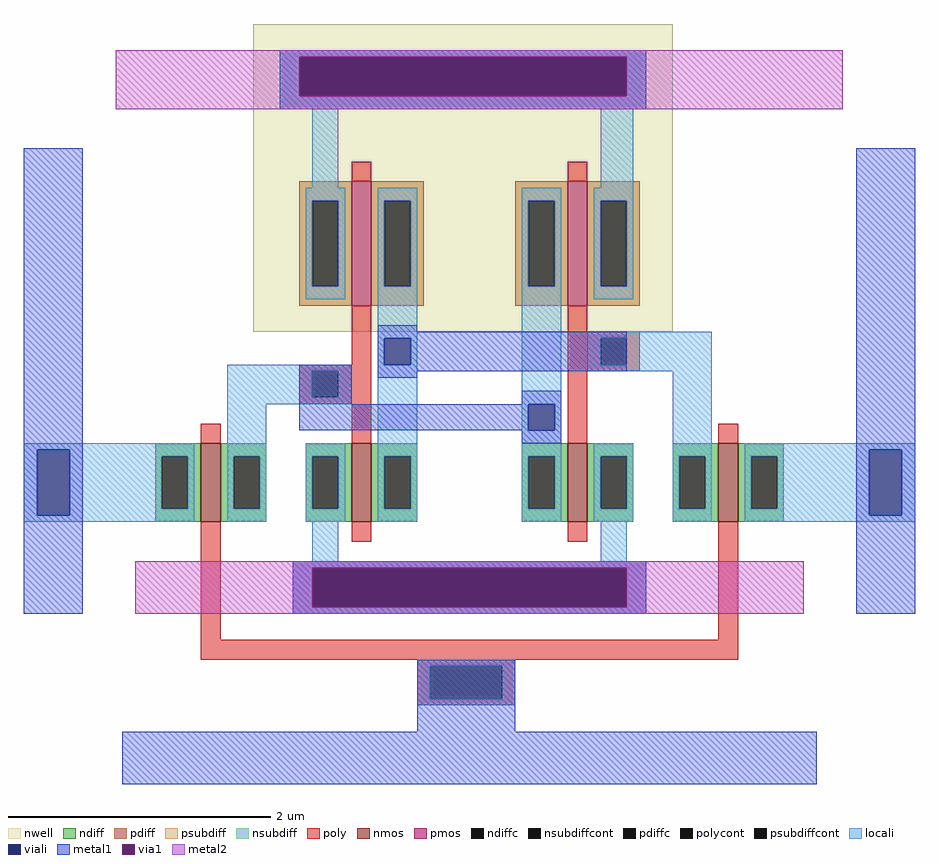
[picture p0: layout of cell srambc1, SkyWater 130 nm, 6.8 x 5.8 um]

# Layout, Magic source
magic
tech sky130A
<< nwell >>
rect -75 -35 245 200
<< nmos >>
rect -115 -180 -100 -120
rect 0 -180 15 -120
rect 165 -180 180 -120
rect 280 -180 295 -120
<< pmos >>
rect 0 -15 15 80
rect 165 -15 180 80
<< ndiff >>
rect -150 -130 -115 -120
rect -150 -170 -145 -130
rect -125 -170 -115 -130
rect -150 -180 -115 -170
rect -100 -130 -65 -120
rect -100 -170 -90 -130
rect -70 -170 -65 -130
rect -100 -180 -65 -170
rect -35 -130 0 -120
rect -35 -170 -30 -130
rect -10 -170 0 -130
rect -35 -180 0 -170
rect 15 -130 50 -120
rect 15 -170 25 -130
rect 45 -170 50 -130
rect 15 -180 50 -170
rect 130 -130 165 -120
rect 130 -170 135 -130
rect 155 -170 165 -130
rect 130 -180 165 -170
rect 180 -130 215 -120
rect 180 -170 190 -130
rect 210 -170 215 -130
rect 180 -180 215 -170
rect 245 -130 280 -120
rect 245 -170 250 -130
rect 270 -170 280 -130
rect 245 -180 280 -170
rect 295 -130 330 -120
rect 295 -170 305 -130
rect 325 -170 330 -130
rect 295 -180 330 -170
<< pdiff >>
rect -40 65 0 80
rect -40 0 -30 65
rect -10 0 0 65
rect -40 -15 0 0
rect 15 65 55 80
rect 15 0 25 65
rect 45 0 55 65
rect 15 -15 55 0
rect 125 65 165 80
rect 125 0 135 65
rect 155 0 165 65
rect 125 -15 165 0
rect 180 65 220 80
rect 180 0 190 65
rect 210 0 220 65
rect 180 -15 220 0
<< ndiffc >>
rect -145 -170 -125 -130
rect -90 -170 -70 -130
rect -30 -170 -10 -130
rect 25 -170 45 -130
rect 135 -170 155 -130
rect 190 -170 210 -130
rect 250 -170 270 -130
rect 305 -170 325 -130
<< pdiffc >>
rect -30 0 -10 65
rect 25 0 45 65
rect 135 0 155 65
rect 190 0 210 65
<< psubdiff >>
rect -45 -215 225 -210
rect -45 -245 -30 -215
rect 210 -245 225 -215
rect -45 -250 225 -245
<< nsubdiff >>
rect -55 175 225 180
rect -55 145 -40 175
rect 210 145 225 175
rect -55 135 225 145
<< psubdiffcont >>
rect -30 -245 210 -215
<< nsubdiffcont >>
rect -40 145 210 175
<< poly >>
rect 0 80 15 95
rect 165 80 180 95
rect 0 -60 15 -15
rect -40 -65 15 -60
rect -40 -85 -30 -65
rect -10 -85 15 -65
rect -40 -90 15 -85
rect -115 -120 -100 -105
rect 0 -120 15 -90
rect 165 -35 180 -15
rect 165 -40 220 -35
rect 165 -60 190 -40
rect 210 -60 220 -40
rect 165 -65 220 -60
rect 165 -120 180 -65
rect 280 -120 295 -105
rect -115 -270 -100 -180
rect 0 -195 15 -180
rect 165 -195 180 -180
rect 280 -270 295 -180
rect -115 -285 295 -270
rect 50 -290 125 -285
rect 50 -315 60 -290
rect 115 -315 125 -290
rect 50 -320 125 -315
<< polycont >>
rect -30 -85 -10 -65
rect 190 -60 210 -40
rect 60 -315 115 -290
<< locali >>
rect -55 175 225 180
rect -55 145 -40 175
rect 210 145 225 175
rect -55 135 225 145
rect -30 75 -10 135
rect 190 75 215 135
rect -35 65 -5 75
rect -35 0 -30 65
rect -10 0 -5 65
rect -35 -10 -5 0
rect 20 65 50 75
rect 20 0 25 65
rect 45 0 50 65
rect 20 -40 50 0
rect 20 -60 25 -40
rect 45 -60 50 -40
rect -95 -65 0 -60
rect -95 -85 -30 -65
rect -10 -85 0 -65
rect -95 -90 0 -85
rect -250 -125 -120 -120
rect -250 -175 -240 -125
rect -215 -130 -120 -125
rect -215 -170 -145 -130
rect -125 -170 -120 -130
rect -215 -175 -120 -170
rect -250 -180 -120 -175
rect -95 -130 -65 -90
rect -95 -170 -90 -130
rect -70 -170 -65 -130
rect -95 -180 -65 -170
rect -35 -130 -5 -120
rect -35 -170 -30 -130
rect -10 -170 -5 -130
rect -35 -180 -5 -170
rect 20 -130 50 -60
rect 20 -170 25 -130
rect 45 -170 50 -130
rect 20 -180 50 -170
rect 130 65 160 75
rect 130 0 135 65
rect 155 0 160 65
rect 130 -90 160 0
rect 185 65 215 75
rect 185 0 190 65
rect 210 0 215 65
rect 185 -10 215 0
rect 180 -40 275 -35
rect 180 -60 190 -40
rect 210 -60 275 -40
rect 180 -65 275 -60
rect 130 -110 135 -90
rect 155 -110 160 -90
rect 130 -130 160 -110
rect 130 -170 135 -130
rect 155 -170 160 -130
rect 130 -180 160 -170
rect 185 -130 215 -120
rect 185 -170 190 -130
rect 210 -170 215 -130
rect 185 -180 215 -170
rect 245 -130 275 -65
rect 245 -170 250 -130
rect 270 -170 275 -130
rect 245 -180 275 -170
rect 300 -125 430 -120
rect 300 -130 395 -125
rect 300 -170 305 -130
rect 325 -170 395 -130
rect 300 -175 395 -170
rect 420 -175 430 -125
rect 300 -180 430 -175
rect -30 -210 -10 -180
rect 190 -210 210 -180
rect -45 -215 225 -210
rect -45 -245 -30 -215
rect 210 -245 225 -215
rect -45 -250 225 -245
rect 50 -290 125 -285
rect 50 -315 60 -290
rect 115 -315 125 -290
rect 50 -320 125 -315
<< viali >>
rect -40 145 210 175
rect 25 -60 45 -40
rect -240 -175 -215 -125
rect 135 -110 155 -90
rect 395 -175 420 -125
rect -30 -245 210 -215
<< metal1 >>
rect -55 175 225 180
rect -55 145 -40 175
rect 210 145 225 175
rect -55 135 225 145
rect -250 -125 -205 105
rect 20 -35 50 -30
rect 20 -40 210 -35
rect 20 -60 25 -40
rect 45 -60 210 -40
rect -40 -90 0 -60
rect 20 -65 210 -60
rect 20 -70 50 -65
rect 130 -90 160 -80
rect -40 -110 135 -90
rect 155 -110 160 -90
rect 130 -120 160 -110
rect -250 -175 -240 -125
rect -215 -175 -205 -125
rect -250 -250 -205 -175
rect 385 -125 430 105
rect 385 -175 395 -125
rect 420 -175 430 -125
rect -45 -215 225 -210
rect -45 -245 -30 -215
rect 210 -245 225 -215
rect -45 -250 225 -245
rect 385 -250 430 -175
rect 50 -340 125 -285
rect -175 -380 355 -340
<< via1 >>
rect -40 145 210 175
rect -30 -245 210 -215
<< metal2 >>
rect -180 175 375 180
rect -180 145 -40 175
rect 210 145 375 175
rect -180 135 375 145
rect -165 -215 345 -210
rect -165 -245 -30 -215
rect 210 -245 345 -215
rect -165 -250 345 -245
<< end >>
